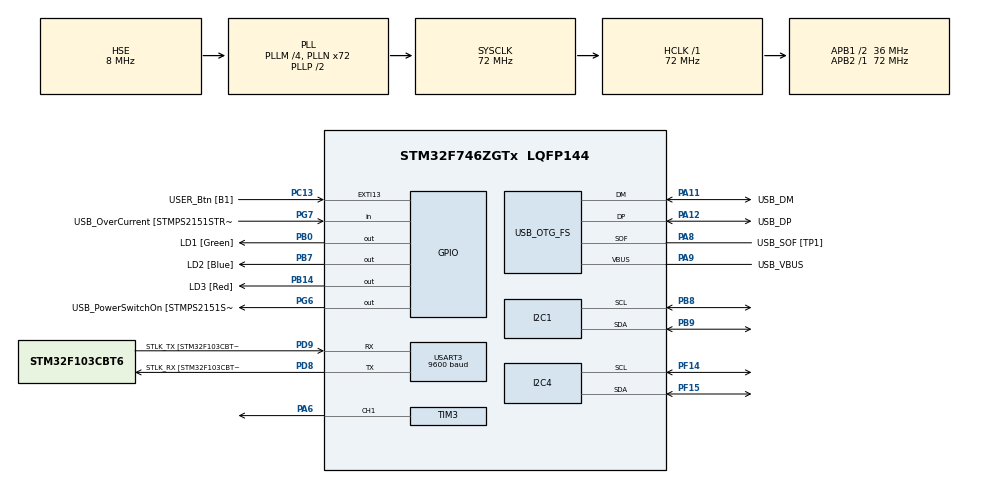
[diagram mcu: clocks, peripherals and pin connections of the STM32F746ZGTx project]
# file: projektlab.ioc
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I2C1.Timing=0x00808CD2
I2C4.Timing=0x00808CD2
Mcu.Family=STM32F7
Mcu.Name=STM32F746ZGTx
Mcu.Package=LQFP144
NVIC.PriorityGroup=NVIC_PRIORITYGROUP_4
NVIC.TIM4_IRQn=true\:0\:0\:false\:false\:true\:true\:true
PA1.GPIO_Label=RMII_REF_CLK [LAN8742A-CZ-TR_REFCLK0]
PA1.Signal=ETH_REF_CLK
PA10.GPIO_Label=USB_ID
PA10.Signal=USB_OTG_FS_ID
PA11.GPIO_Label=USB_DM
PA11.Mode=Device_Only
PA11.Signal=USB_OTG_FS_DM
PA12.GPIO_Label=USB_DP
PA12.Mode=Device_Only
PA12.Signal=USB_OTG_FS_DP
PA13.GPIO_Label=TMS
PA13.Mode=Serial_Wire
PA13.Signal=SYS_JTMS-SWDIO
PA14.GPIO_Label=TCK
PA14.Mode=Serial_Wire
PA14.Signal=SYS_JTCK-SWCLK
PA2.GPIO_Label=RMII_MDIO [LAN8742A-CZ-TR_MDIO]
PA2.Signal=ETH_MDIO
PA6.Signal=S_TIM3_CH1
PA7.GPIO_Label=RMII_CRS_DV [LAN8742A-CZ-TR_CRS_DV]
PA7.Signal=ETH_CRS_DV
PA8.GPIO_Label=USB_SOF [TP1]
PA8.Mode=Activate_SOF_FS
PA8.Signal=USB_OTG_FS_SOF
PA9.GPIO_Label=USB_VBUS
PA9.Mode=Activate_VBUS
PA9.Signal=USB_OTG_FS_VBUS
PB0.GPIO_Label=LD1 [Green]
PB0.Signal=GPIO_Output
PB13.GPIO_Label=RMII_TXD1 [LAN8742A-CZ-TR_TXD1]
PB13.Signal=ETH_TXD1
PB14.GPIO_Label=LD3 [Red]
PB14.Signal=GPIO_Output
PB3.GPIO_Label=SW0
PB3.Signal=SYS_JTDO-SWO
PB7.GPIO_Label=LD2 [Blue]
PB7.Signal=GPIO_Output
PB8.GPIO_Pu=GPIO_NOPULL
PB8.Mode=I2C
PB8.Signal=I2C1_SCL
PB9.GPIO_Pu=GPIO_NOPULL
PB9.Mode=I2C
PB9.Signal=I2C1_SDA
PC1.GPIO_Label=RMII_MDC [LAN8742A-CZ-TR_MDC]
PC1.Signal=ETH_MDC
PC13.GPIO_Label=USER_Btn [B1]
PC13.Signal=GPXTI13
PC14/OSC32_IN.Mode=LSE-External-Oscillator
PC14/OSC32_IN.Signal=RCC_OSC32_IN
PC15/OSC32_OUT.Mode=LSE-External-Oscillator
PC15/OSC32_OUT.Signal=RCC_OSC32_OUT
PC4.GPIO_Label=RMII_RXD0 [LAN8742A-CZ-TR_RXD0]
PC4.Signal=ETH_RXD0
PC5.GPIO_Label=RMII_RXD1 [LAN8742A-CZ-TR_RXD1]
PC5.Signal=ETH_RXD1
PD8.GPIO_Label=STLK_RX [STM32F103CBT6_PA3]
PD8.Mode=Asynchronous
PD8.Signal=USART3_TX
PD9.GPIO_Label=STLK_TX [STM32F103CBT6_PA2]
PD9.Mode=Asynchronous
PD9.Signal=USART3_RX
PF14.GPIO_Pu=GPIO_PULLUP
PF14.Mode=I2C
PF14.Signal=I2C4_SCL
PF15.GPIO_Pu=GPIO_PULLUP
PF15.Mode=I2C
PF15.Signal=I2C4_SDA
PG11.GPIO_Label=RMII_TX_EN [LAN8742A-CZ-TR_TXEN]
PG11.Signal=ETH_TX_EN
PG13.GPIO_Label=RMII_TXD0 [LAN8742A-CZ-TR_TXD0]
PG13.Signal=ETH_TXD0
PG6.GPIO_Label=USB_PowerSwitchOn [STMPS2151STR_EN]
PG6.Signal=GPIO_Output
PG7.GPIO_Label=USB_OverCurrent [STMPS2151STR_FAULT]
PG7.Signal=GPIO_Input
PH0/OSC_IN.GPIO_Label=MCO [STM32F103CBT6_PA8]
PH0/OSC_IN.Mode=HSE-External-Clock-Source
PH0/OSC_IN.Signal=RCC_OSC_IN
PH1/OSC_OUT.Mode=HSE-External-Clock-Source
PH1/OSC_OUT.Signal=RCC_OSC_OUT
ProjectManager.HeapSize=0x200
ProjectManager.StackSize=0x400
ProjectManager.TargetToolchain=STM32CubeIDE
RCC.48MHZClocksFreq_Value=24000000
RCC.AHBFreq_Value=72000000
RCC.APB1CLKDivider=RCC_HCLK_DIV2
RCC.APB1Freq_Value=36000000
RCC.APB1TimFreq_Value=72000000
RCC.APB2Freq_Value=72000000
RCC.APB2TimFreq_Value=72000000
RCC.CortexFreq_Value=72000000
RCC.HCLKFreq_Value=72000000
RCC.HSE_VALUE=8000000
RCC.HSI_VALUE=16000000
RCC.PLLM=4
RCC.PLLMUL=RCC_PLL_MUL9
RCC.PLLN=72
RCC.PLLQ=3
RCC.PRESCALERUSB=RCC_USBCLKSOURCE_PLL_DIV1_5
RCC.SYSCLKFreq_VALUE=72000000
RCC.SYSCLKSource=RCC_SYSCLKSOURCE_PLLCLK
RCC.SYSCLKSourceVirtual=RCC_SYSCLKSOURCE_PLLCLK
RCC.USBFreq_Value=48000000
RCC.VCOOutputFreq_Value=144000000
SH.S_TIM3_CH1.0=TIM3_CH1,PWM Generation1 CH1
TIM3.Channel-PWM\ Generation1\ CH1=TIM_CHANNEL_1
TIM3.Period=999
TIM3.Prescaler=71
TIM4.AutoReloadPreload=TIM_AUTORELOAD_PRELOAD_ENABLE
TIM4.Period=9999
TIM4.Prescaler=719
USART3.BaudRate=9600
USART3.VirtualMode-Asynchronous=VM_ASYNC
USB_OTG_FS.VirtualMode=Device_Only
VP_TIM3_VS_ClockSourceINT.Mode=Internal
VP_TIM4_VS_ClockSourceINT.Mode=Internal
board=NUCLEO-F746ZG

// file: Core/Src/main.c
/* USER CODE BEGIN Header */
/**
 ******************************************************************************
 * @file           : main.c
 * @brief          : Main program body
 ******************************************************************************
 * @attention
 *
 * <h2><center>&copy; Copyright (c) 2022 STMicroelectronics.
 * All rights reserved.</center></h2>
 *
 * This software component is licensed by ST under BSD 3-Clause license,
 * the "License"; You may not use this file except in compliance with the
 * License. You may obtain a copy of the License at:
 *                        opensource.org/licenses/BSD-3-Clause
 *
 ******************************************************************************
 */
/* USER CODE END Header */
#include "main.h"
#include "i2c.h"
#include "tim.h"
#include "usart.h"
#include "usb_otg.h"
#include "gpio.h"

/* USER CODE BEGIN Includes */
#include "lcd_i2c.h"
#include <stdbool.h>
#include <stdio.h>
#include <stdlib.h>
#include <string.h>
#include "bh1750.h"

/* USER CODE END Includes */

/* USER CODE BEGIN PV */
struct lcd_disp disp;
BH1750_HandleTypeDef sensor = { .I2C = &hi2c1, .Address = BH1750_ADDRESS_L,
		.Timeout = 0xffff };

//nastawy PID
float Kp = 0.089;
float Ki = 1.5;
float Td = -0.0006;
float N = 189.0;
//warunki początkowe
float prev_int = 0.0f;
float prev_error = 0.0f;
float prev_d = 0.0;

//zegar na 100hz
float Tp = 0.01f;

float set_value = 600.0;
float luxint = 0.0f;
uint16_t duty;

/* USER CODE END PV */

void SystemClock_Config(void);

/* USER CODE BEGIN 0 */

void PID() {

	luxint = BH1750_ReadIlluminance_lux(&sensor);
	float error = set_value - luxint;

	float u;
	//P
	float u_P = Kp * error;
	//I
	float integral = (error + prev_error + prev_int);
	float u_I = Ki * Tp / 2 * integral;
	prev_int = integral;
	//D
	float derivative = (error - prev_error) / Tp;
	//float u_D=Td*derivative;
	float u_D = Td * N / (1 + N * (1 / derivative));
	prev_error = error;

	u = u_P + u_I + u_D;

	duty = (uint16_t) u;

	if (duty > 999) {
		duty = 999;
	}

	htim3.Instance->CCR1 = duty;

}

void HAL_TIM_PeriodElapsedCallback(TIM_HandleTypeDef *htim) {

	if (htim->Instance == TIM4) {
		//luxint = BH1750_ReadIlluminance_lux(&sensor);
		PID();

	}
}

/* USER CODE END 0 */

int main(void) {

	/* MCU Configuration--------------------------------------------------------*/

	/* Reset of all peripherals, Initializes the Flash interface and the Systick. */
	HAL_Init();

	/* Configure the system clock */
	SystemClock_Config();

	/* Initialize all configured peripherals */
	MX_GPIO_Init();
	MX_USART3_UART_Init();
	MX_USB_OTG_FS_PCD_Init();
	MX_I2C1_Init();
	MX_I2C4_Init();
	MX_TIM3_Init();
	MX_TIM4_Init();
	/* USER CODE BEGIN 2 */
	HAL_TIM_Base_Start_IT(&htim4);
	HAL_TIM_PWM_Start(&htim3, TIM_CHANNEL_1);

	BH1750_Init(&sensor);

	disp.addr = (0x27 << 1);
	disp.bl = true;
	lcd_init(&disp);

	//HAL_Delay(1000);
	// __HAL_TIM_SET_COMPARE(&htim3, TIM_CHANNEL_1,1000);

	/* USER CODE END 2 */

	/* Infinite loop */
	/* USER CODE BEGIN WHILE */
	while (1) {

//		if(HAL_GPIO_ReadPin(USER_Btn_GPIO_Port, USER_Btn_Pin))
//		{
//			set_value=set_value+100;
//		}

		//wysłanie odczytu na LCD
		uint16_t f = set_value; //wartosc zadana i wypelnienie w %
		sprintf((char*) disp.f_line, "Set=%d PWM %d%%", f, duty / 10);

		uint16_t s = luxint; // odczyt czujnika
		sprintf((char*) disp.s_line, "Read[lux]= %d", s);
		lcd_display(&disp);
		HAL_Delay(1000);

		/* USER CODE END WHILE */

	}
}

void SystemClock_Config(void) {
	RCC_OscInitTypeDef RCC_OscInitStruct = { 0 };
	RCC_ClkInitTypeDef RCC_ClkInitStruct = { 0 };
	RCC_PeriphCLKInitTypeDef PeriphClkInitStruct = { 0 };

	/** Configure LSE Drive Capability
	 */
	HAL_PWR_EnableBkUpAccess();
	/** Configure the main internal regulator output voltage
	 */
	__HAL_RCC_PWR_CLK_ENABLE();
	__HAL_PWR_VOLTAGESCALING_CONFIG(PWR_REGULATOR_VOLTAGE_SCALE3);
	/** Initializes the RCC Oscillators according to the specified parameters
	 * in the RCC_OscInitTypeDef structure.
	 */
	RCC_OscInitStruct.OscillatorType = RCC_OSCILLATORTYPE_HSE;
	RCC_OscInitStruct.HSEState = RCC_HSE_BYPASS;
	RCC_OscInitStruct.PLL.PLLState = RCC_PLL_ON;
	RCC_OscInitStruct.PLL.PLLSource = RCC_PLLSOURCE_HSE;
	RCC_OscInitStruct.PLL.PLLM = 4;
	RCC_OscInitStruct.PLL.PLLN = 72;
	RCC_OscInitStruct.PLL.PLLP = RCC_PLLP_DIV2;
	RCC_OscInitStruct.PLL.PLLQ = 3;
	if (HAL_RCC_OscConfig(&RCC_OscInitStruct) != HAL_OK) {
		Error_Handler();
	}
	/** Initializes the CPU, AHB and APB buses clocks
	 */
	RCC_ClkInitStruct.ClockType = RCC_CLOCKTYPE_HCLK | RCC_CLOCKTYPE_SYSCLK
			| RCC_CLOCKTYPE_PCLK1 | RCC_CLOCKTYPE_PCLK2;
	RCC_ClkInitStruct.SYSCLKSource = RCC_SYSCLKSOURCE_PLLCLK;
	RCC_ClkInitStruct.AHBCLKDivider = RCC_SYSCLK_DIV1;
	RCC_ClkInitStruct.APB1CLKDivider = RCC_HCLK_DIV2;
	RCC_ClkInitStruct.APB2CLKDivider = RCC_HCLK_DIV1;

	if (HAL_RCC_ClockConfig(&RCC_ClkInitStruct, FLASH_LATENCY_2) != HAL_OK) {
		Error_Handler();
	}
	PeriphClkInitStruct.PeriphClockSelection = RCC_PERIPHCLK_USART3
			| RCC_PERIPHCLK_I2C1 | RCC_PERIPHCLK_I2C4 | RCC_PERIPHCLK_CLK48;
	PeriphClkInitStruct.Usart3ClockSelection = RCC_USART3CLKSOURCE_PCLK1;
	PeriphClkInitStruct.I2c1ClockSelection = RCC_I2C1CLKSOURCE_PCLK1;
	PeriphClkInitStruct.I2c4ClockSelection = RCC_I2C4CLKSOURCE_PCLK1;
	PeriphClkInitStruct.Clk48ClockSelection = RCC_CLK48SOURCE_PLL;
	if (HAL_RCCEx_PeriphCLKConfig(&PeriphClkInitStruct) != HAL_OK) {
		Error_Handler();
	}
}

void Error_Handler(void) {
	__disable_irq();
	while (1) {
	}
}

/************************ (C) COPYRIGHT STMicroelectronics *****END OF FILE****/
